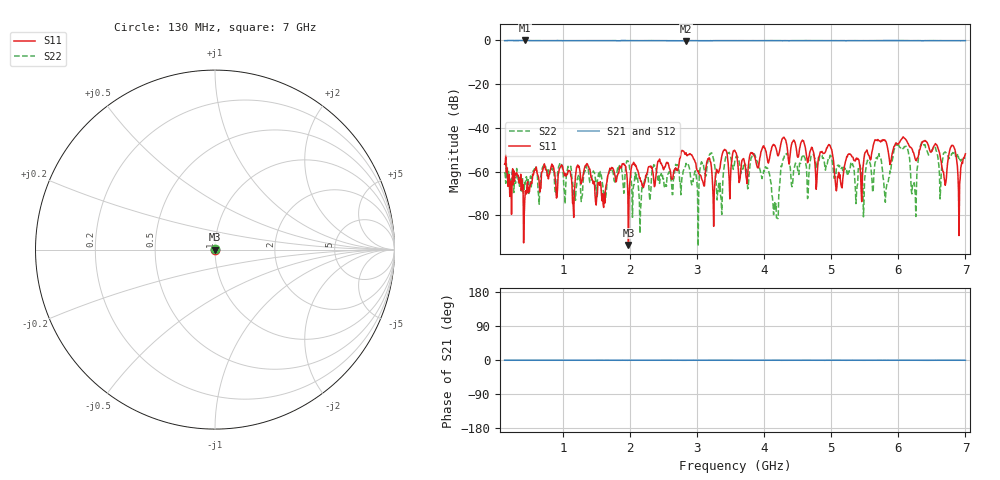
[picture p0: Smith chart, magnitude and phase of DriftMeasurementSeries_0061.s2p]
# Hz S RI R 50.000000
! Metas.Vna.Tools, 2.8.8664.20301
! Metas.Vna.Data, 2.8.8664.20285
! Created: UTC 2024.02.11 10:08:30
! FREQ  re:S1,1  im:S1,1  re:S2,1  im:S2,1  re:S1,2  im:S1,2  re:S2,2  im:S2,2
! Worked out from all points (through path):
!   801 points, 130 MHz to 7 GHz, reference 50 ohm
!   highest |S21| = -0.01 dB at 439.1 MHz (marker M1); lowest = -0.2 dB at 2.835 GHz (marker M2)
!   lowest |S11| = -93.5 dB at 1.976 GHz (marker M3), VSWR 1.00, Z = 50 - j0.002 ohm
!   |S11| at or under -10 dB: start of sweep to end of sweep
!   |S22| runs from -94.1 to -46.5 dB; largest |S21 - S12| = 0.022
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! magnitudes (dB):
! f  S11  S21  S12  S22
! 130 MHz  -56.6  -0.1  0.0  -60.2
! 439.1 MHz  -68.7  0.0  0.0  -65.6
! 1.281 GHz  -64.2  -0.1  0.0  -71.6
! 1.976 GHz  -93.5  -0.1  0.0  -55.6
! 2.157 GHz  -64.3  -0.1  0.0  -77.3
! 2.423 GHz  -55.1  -0.1  0.0  -64.0
! 2.835 GHz  -51.4  -0.2  0.0  -56.2
! 3.256 GHz  -69.2  -0.1  0.0  -56.4
! 3.333 GHz  -58.9  -0.1  0.0  -69.2
! 3.565 GHz  -50.5  -0.1  0.0  -54.6
! 4.046 GHz  -53.9  -0.1  0.0  -58.5
! 4.175 GHz  -49.2  -0.1  0.0  -74.7
! 4.312 GHz  -45.1  -0.1  0.0  -52.6
! 4.716 GHz  -49.0  -0.1  0.0  -52.0
! 4.982 GHz  -48.0  -0.1  0.0  -52.5
! 5.085 GHz  -66.7  -0.1  0.0  -57.9
! 5.858 GHz  -52.6  -0.1  0.0  -62.9
! 5.978 GHz  -47.2  -0.1  0.0  -47.9
! 6.227 GHz  -51.3  -0.1  0.0  -66.0
! 6.365 GHz  -46.5  -0.1  0.0  -47.0
! 6.691 GHz  -64.3  -0.1  0.0  -51.1
! 7 GHz  -51.9  -0.1  0.0  -53.9
